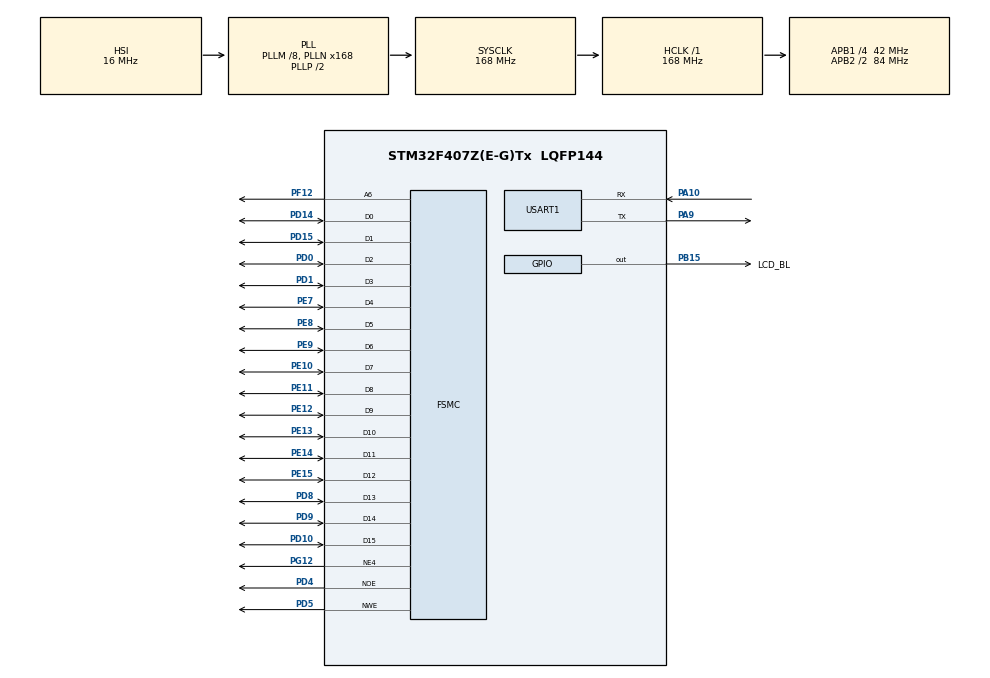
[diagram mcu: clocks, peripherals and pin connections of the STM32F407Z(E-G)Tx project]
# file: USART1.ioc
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FSMC.AddressSetupTime1=2
FSMC.BusTurnAroundDuration1=10
FSMC.DataSetupTime1=10
FSMC.ExtendedAddressSetupTime1=1
FSMC.ExtendedBusTurnAroundDuration1=2
FSMC.ExtendedDataSetupTime1=1
FSMC.ExtendedMode1=FSMC_EXTENDED_MODE_ENABLE
Mcu.Family=STM32F4
Mcu.Name=STM32F407Z(E-G)Tx
Mcu.Package=LQFP144
NVIC.PriorityGroup=NVIC_PRIORITYGROUP_4
NVIC.TIM2_IRQn=true\:0\:0\:false\:false\:true\:true\:true\:true
PA10.Mode=Asynchronous
PA10.Signal=USART1_RX
PA13.Mode=Serial_Wire
PA13.Signal=SYS_JTMS-SWDIO
PA14.Mode=Serial_Wire
PA14.Signal=SYS_JTCK-SWCLK
PA9.Mode=Asynchronous
PA9.Signal=USART1_TX
PB15.GPIO_Label=LCD_BL
PB15.GPIO_ModeDefaultOutputPP=GPIO_MODE_OUTPUT_PP
PB15.GPIO_PuPd=GPIO_PULLUP
PB15.GPIO_Speed=GPIO_SPEED_FREQ_HIGH
PB15.Signal=GPIO_Output
PD0.Signal=FSMC_D2_DA2
PD1.Signal=FSMC_D3_DA3
PD10.Signal=FSMC_D15_DA15
PD14.Signal=FSMC_D0_DA0
PD15.Signal=FSMC_D1_DA1
PD4.Signal=FSMC_NOE
PD5.Signal=FSMC_NWE
PD8.Signal=FSMC_D13_DA13
PD9.Signal=FSMC_D14_DA14
PE10.Signal=FSMC_D7_DA7
PE11.Signal=FSMC_D8_DA8
PE12.Signal=FSMC_D9_DA9
PE13.Signal=FSMC_D10_DA10
PE14.Signal=FSMC_D11_DA11
PE15.Signal=FSMC_D12_DA12
PE7.Signal=FSMC_D4_DA4
PE8.Signal=FSMC_D5_DA5
PE9.Signal=FSMC_D6_DA6
PF12.Signal=FSMC_A6
PG12.Mode=NorPsramChipSelect4_1
PG12.Signal=FSMC_NE4
PH0-OSC_IN.Mode=HSE-External-Oscillator
PH0-OSC_IN.Signal=RCC_OSC_IN
PH1-OSC_OUT.Mode=HSE-External-Oscillator
PH1-OSC_OUT.Signal=RCC_OSC_OUT
ProjectManager.HeapSize=0x800
ProjectManager.StackSize=0x800
ProjectManager.TargetToolchain=MDK-ARM V5
RCC.48MHZClocksFreq_Value=84000000
RCC.AHBFreq_Value=168000000
RCC.APB1CLKDivider=RCC_HCLK_DIV4
RCC.APB1Freq_Value=42000000
RCC.APB1TimFreq_Value=84000000
RCC.APB2CLKDivider=RCC_HCLK_DIV2
RCC.APB2Freq_Value=84000000
RCC.APB2TimFreq_Value=168000000
RCC.CortexFreq_Value=168000000
RCC.HCLKFreq_Value=168000000
RCC.HSE_VALUE=25000000
RCC.HSI_VALUE=16000000
RCC.LSE_VALUE=32768
RCC.PLLM=8
RCC.PLLN=168
RCC.SYSCLKFreq_VALUE=168000000
RCC.SYSCLKSource=RCC_SYSCLKSOURCE_PLLCLK
RCC.VCOOutputFreq_Value=336000000
SH.FSMC_A6.0=FSMC_A6,A6_1
SH.FSMC_D0_DA0.0=FSMC_D0,16b-d1
SH.FSMC_D10_DA10.0=FSMC_D10,16b-d1
SH.FSMC_D11_DA11.0=FSMC_D11,16b-d1
SH.FSMC_D12_DA12.0=FSMC_D12,16b-d1
SH.FSMC_D13_DA13.0=FSMC_D13,16b-d1
SH.FSMC_D14_DA14.0=FSMC_D14,16b-d1
SH.FSMC_D15_DA15.0=FSMC_D15,16b-d1
SH.FSMC_D1_DA1.0=FSMC_D1,16b-d1
SH.FSMC_D2_DA2.0=FSMC_D2,16b-d1
SH.FSMC_D3_DA3.0=FSMC_D3,16b-d1
SH.FSMC_D4_DA4.0=FSMC_D4,16b-d1
SH.FSMC_D5_DA5.0=FSMC_D5,16b-d1
SH.FSMC_D6_DA6.0=FSMC_D6,16b-d1
SH.FSMC_D7_DA7.0=FSMC_D7,16b-d1
SH.FSMC_D8_DA8.0=FSMC_D8,16b-d1
SH.FSMC_D9_DA9.0=FSMC_D9,16b-d1
SH.FSMC_NOE.0=FSMC_NOE,Lcd1
SH.FSMC_NWE.0=FSMC_NWE,Lcd1
STMicroelectronics.X-CUBE-AI.8.1.0.ActivationBufferSizeList=57152
STMicroelectronics.X-CUBE-AI.8.1.0.ActivationBuffers=pool0
STMicroelectronics.X-CUBE-AI.8.1.0.ActivationNames=pool0
STMicroelectronics.X-CUBE-AI.8.1.0.ActivationSizes=AI_NETWORK_DATA_ACTIVATION_1_SIZE
STMicroelectronics.X-CUBE-AI.8.1.0.HeapSize=0x800
STMicroelectronics.X-CUBE-AI.8.1.0.InternalRamActivationBufferMaxSize=AI_NETWORK_DATA_ACTIVATIONS_SIZE
STMicroelectronics.X-CUBE-AI.8.1.0.LatestDirectoryUsed-e3d792aa11943321f5295016e05037dad52c02e9f5a67bd2e8513bfc6009c321=D\:\\pytorch_project\\numbers\\numbers
STMicroelectronics.X-CUBE-AI.8.1.0.MaximumNumberOfInputLayer=1
STMicroelectronics.X-CUBE-AI.8.1.0.MaximumNumberOfOutputLayer=1
STMicroelectronics.X-CUBE-AI.8.1.0.MaximumSizeOfInputLayer=1
STMicroelectronics.X-CUBE-AI.8.1.0.MaximumSizeOfOutputLayer=1
STMicroelectronics.X-CUBE-AI.8.1.0.ModelActualCompression-e3d792aa11943321f5295016e05037dad52c02e9f5a67bd2e8513bfc6009c321=3.407177
STMicroelectronics.X-CUBE-AI.8.1.0.ModelCompression-e3d792aa11943321f5295016e05037dad52c02e9f5a67bd2e8513bfc6009c321=Low
STMicroelectronics.X-CUBE-AI.8.1.0.ModelFlashOccupation-e3d792aa11943321f5295016e05037dad52c02e9f5a67bd2e8513bfc6009c321=517010
STMicroelectronics.X-CUBE-AI.8.1.0.ModelHashList=e3d792aa11943321f5295016e05037dad52c02e9f5a67bd2e8513bfc6009c321
STMicroelectronics.X-CUBE-AI.8.1.0.ModelKind-e3d792aa11943321f5295016e05037dad52c02e9f5a67bd2e8513bfc6009c321=ONNX
STMicroelectronics.X-CUBE-AI.8.1.0.ModelMacc-e3d792aa11943321f5295016e05037dad52c02e9f5a67bd2e8513bfc6009c321=2364784
STMicroelectronics.X-CUBE-AI.8.1.0.ModelName-e3d792aa11943321f5295016e05037dad52c02e9f5a67bd2e8513bfc6009c321=network
STMicroelectronics.X-CUBE-AI.8.1.0.ModelNameList=network
STMicroelectronics.X-CUBE-AI.8.1.0.ModelRamOccupation-e3d792aa11943321f5295016e05037dad52c02e9f5a67bd2e8513bfc6009c321=57152
STMicroelectronics.X-CUBE-AI.8.1.0.ModelStructureFile-e3d792aa11943321f5295016e05037dad52c02e9f5a67bd2e8513bfc6009c321=D\:\\pytorch_project\\numbers\\numbers\\net.onnx
STMicroelectronics.X-CUBE-AI.8.1.0.ModelType-e3d792aa11943321f5295016e05037dad52c02e9f5a67bd2e8513bfc6009c321=Saved model
STMicroelectronics.X-CUBE-AI.8.1.0.ReadyForCodeGeneration=true
STMicroelectronics.X-CUBE-AI.8.1.0.StackSize=0x800
STMicroelectronics.X-CUBE-AI.8.1.0.WorkingBufferStartAddrList=0xFFFFFFFF
STMicroelectronics.X-CUBE-AI.8.1.0.XAaCUBEAaAICcArtificialOoIntelligenceJjCore=true
STMicroelectronics.X-CUBE-AI.8.1.0.copyWeightToRam=false
STMicroelectronics.X-CUBE-AI.8.1.0.customLayerConfigEnabled=false
STMicroelectronics.X-CUBE-AI.8.1.0.noOnnxIoTranspose=false
STMicroelectronics.X-CUBE-AI.8.1.0.useInputAllocation=true
STMicroelectronics.X-CUBE-AI.8.1.0.useOutputAllocation=true
TIM2.Period=9999
TIM2.Prescaler=8399
USART1.VirtualMode=VM_ASYNC
VP_CRC_VS_CRC.Mode=CRC_Activate
VP_STMicroelectronics.X-CUBE-AI_VS_ArtificialOoIntelligenceJjXAaCUBEAaAI_8.1.0.Mode=ArtificialOoIntelligenceJjXAaCUBEAaAI
VP_TIM2_VS_ClockSourceINT.Mode=Internal
board=custom

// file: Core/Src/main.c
/* USER CODE BEGIN Header */
/**
  ******************************************************************************
  * @file           : main.c
  * @brief          : Main program body
  ******************************************************************************
  * @attention
  *
  * Copyright (c) 2024 STMicroelectronics.
  * All rights reserved.
  *
  * This software is licensed under terms that can be found in the LICENSE file
  * in the root directory of this software component.
  * If no LICENSE file comes with this software, it is provided AS-IS.
  *
  ******************************************************************************
  */
/* USER CODE END Header */
#include "main.h"
#include "crc.h"
#include "tim.h"
#include "usart.h"
#include "gpio.h"
#include "fsmc.h"

/* USER CODE BEGIN Includes */
#include "lcd.h"
#include "pic.h"
#include "stdio.h"
#include "network.h"//调用网络推理所需的各种函数
#include "network_data.h"//包含网络权重参数
#include "ai_platform.h"//包含各种定义和宏
#include "touch.h"
#include "delay.h"
/* USER CODE END Includes */

/* USER CODE BEGIN PTD */
int fps=0,FPS=0;

/* USER CODE END PTD */

void SystemClock_Config(void);
/* USER CODE BEGIN PFP */

ai_handle network=AI_HANDLE_NULL;
static float aiInData[AI_NETWORK_IN_1_SIZE]={0};
static float aiOutData[AI_NETWORK_OUT_1_SIZE];
ai_u8 activations[AI_NETWORK_DATA_ACTIVATIONS_SIZE];

ai_buffer * ai_input;
ai_buffer * ai_output;

uint16_t lastpos[10][2];

static void AI_Init(void)
{
  ai_error err;

  /* Create a local array with the addresses of the activations buffers */
  const ai_handle act_addr[] = { activations };
  /* Create an instance of the model */
  err = ai_network_create_and_init(&network, act_addr, NULL);
  if (err.type != AI_ERROR_NONE) {
    printf("ai_network_create error - type=%d code=%d\r\n", err.type, err.code);
    Error_Handler();
  }
	else
	{
		printf("AI init success!\r\n");
	}
  ai_input = ai_network_inputs_get(network, NULL);
  ai_output = ai_network_outputs_get(network, NULL);
}

static void AI_Run(float *pIn, float *pOut)
{
	char logStr[100];
	int count = 0;
	float max = 0;
  ai_i32 batch;
  ai_error err;

  /* Update IO handlers with the data payload */
  ai_input[0].data = AI_HANDLE_PTR(pIn);
  ai_output[0].data = AI_HANDLE_PTR(pOut);

  batch = ai_network_run(network, ai_input, ai_output);
  if (batch != 1) {
    err = ai_network_get_error(network);
    printf("AI ai_network_run error - type=%d code=%d\r\n", err.type, err.code);
    Error_Handler();
  }
  for (uint32_t i = 0; i < AI_NETWORK_OUT_1_SIZE; i++) {

	  sprintf(logStr,"%d  %8.6f\r\n",i,aiOutData[i]);

	  //printf("%s",logStr);

		lcd_show_string(72, 336+72+i*32,336, 32,32, logStr,BLACK);
	  if(max<aiOutData[i])
	  {
		  count = i;
		  max= aiOutData[i];
	  }
  }
	if(aiOutData[count]>0.5)
	{
  sprintf(logStr,"current number is %d   \r\n",count);
	}
	else
	{
		sprintf(logStr,"current number is none");
	}
  //printf("%s",logStr);
	lcd_show_string(72,336+ 72+10*32,400, 32,32, logStr,BLACK);
}

void load_draw_dialog(void)
{
    lcd_clear(WHITE);                                                /* 清屏 */
    lcd_show_string(lcddev.width - 24, 0, 200, 16, 16, "RST", BLUE); /* 显示清屏区域 */
	lcd_draw_rectangle(72, 72, 336+72-1,336+72-1,  BLUE);
	for (int i=0;i<AI_NETWORK_IN_1_SIZE;i++)
	{
		aiInData[i]=0;
	}
}

void process_data(uint16_t x1, uint16_t y1, uint16_t x2, uint16_t y2)
{
    uint16_t t;
    int xerr = 0, yerr = 0, delta_x, delta_y, distance;
    int incx, incy, row, col;
    delta_x = x2 - x1;      /* 计算坐标增量 */
    delta_y = y2 - y1;
    row = x1;
    col = y1;

    if (delta_x > 0)
    {
        incx = 1;       /* 设置单步方向 */
    }
    else if (delta_x == 0)
    {
        incx = 0;       /* 垂直线 */
    }
    else
    {
        incx = -1;
        delta_x = -delta_x;
    }

    if (delta_y > 0)
    {
        incy = 1;
    }
    else if (delta_y == 0)
    {
        incy = 0;       /* 水平线 */
    }
    else
    {
        incy = -1;
        delta_y = -delta_y;
    }

    if ( delta_x > delta_y)
    {
        distance = delta_x;  /* 选取基本增量坐标轴 */
    }
    else
    {
        distance = delta_y;
    }

    for (t = 0; t <= distance + 1; t++)     /* 画线输出 */
    {
        //lcd_draw_point((row-30)/12, (col-30)/12);    /* 画点 */
			aiInData[((col-72)/12)*28+(row-72)/12 ]=1;
			lcd_draw_point((row-72)/12, (col-72)/12,BLACK);
        xerr += delta_x;
        yerr += delta_y;

        if (xerr > distance)
        {
            xerr -= distance;
            row += incx;
        }

        if (yerr > distance)
        {
            yerr -= distance;
            col += incy;
        }
    }
}

/* 10个触控点的颜色(电容触摸屏用) */
const uint16_t POINT_COLOR_TBL[10] = {RED, GREEN, BLUE, BROWN, YELLOW, MAGENTA, CYAN, LIGHTBLUE, BRRED, GRAY};

/**
 * @brief       电容触摸屏测试函数
 * @param       无
 * @retval      无
 */
void ctp_test(void)
{
    uint8_t t = 0;
    uint8_t i = 0;
       /* 最后一次的数据 */
    uint8_t maxp = 5;

        tp_dev.scan(0);

        for (t = 0; t < maxp; t++)
        {
            if ((tp_dev.sta) & (1 << t))
            {
                if (tp_dev.x[t] > 72 &&tp_dev.x[t] < 336+72-1 && tp_dev.y[t] > 72&& tp_dev.y[t] < 336+72-1)  /* 坐标在屏幕范围内 */
                {
                    if (lastpos[t][0] == 0xFFFF)
                    {
                        lastpos[t][0] = tp_dev.x[t];
                        lastpos[t][1] = tp_dev.y[t];
                    }

                    lcd_draw_bline(lastpos[t][0], lastpos[t][1], tp_dev.x[t], tp_dev.y[t], 10, POINT_COLOR_TBL[t]); /* 画线 */
										process_data(lastpos[t][0],  lastpos[t][1],tp_dev.x[t],tp_dev.y[t]);
                    lastpos[t][0] = tp_dev.x[t];
                    lastpos[t][1] = tp_dev.y[t];

                }
								if (tp_dev.x[t] > (lcddev.width - 24) && tp_dev.y[t] < 20)
                    {
                        load_draw_dialog();/* 清除 */
                    }
            }
            else
            {
                lastpos[t][0] = 0xFFFF;
            }
        }

}

void HAL_TIM_PeriodElapsedCallback(TIM_HandleTypeDef* htim){
    if(htim->Instance==TIM2){
					//printf("LCD FPS:%d\r\n",fps);
			//FPS=fps;
					//fps=0;
		 ctp_test();
    }
}

/* USER CODE END PFP */

int main(void)
{

  /* MCU Configuration--------------------------------------------------------*/

  /* Reset of all peripherals, Initializes the Flash interface and the Systick. */
  HAL_Init();

  /* Configure the system clock */
  SystemClock_Config();

  /* Initialize all configured peripherals */
  MX_GPIO_Init();
  MX_USART1_UART_Init();
  MX_FSMC_Init();
  MX_TIM2_Init();
  MX_CRC_Init();
  /* USER CODE BEGIN 2 */
   lcd_init();
	 tp_dev.init();
	 HAL_TIM_Base_Start_IT(&htim2);
	 AI_Init();
	 printf("LCD ID:%x\r\n", lcddev.id);
	load_draw_dialog();

	// AI_Run(test_img, aiOutData);
  /* USER CODE END 2 */

  /* Infinite loop */
  while (1)
  {

    /* USER CODE BEGIN 3 */
//		unsigned char *ch=NULL;
//		sprintf(ch,"LCD ID:%d\r\n", 111);
//		HAL_UART_Transmit(&huart1,ch,sizeof(ch),1000);
//  switch (x)
//        {
//        case 0:
//            lcd_clear(WHITE);
//            break;

//        case 1:
//            lcd_clear(BLACK);
//            break;

//        case 2:
//            lcd_clear(BLUE);
//            break;

//        case 3:
//            lcd_clear(RED);
//            break;

//        case 4:
//            lcd_clear(MAGENTA);
//            break;

//        case 5:
//            lcd_clear(GREEN);
//            break;

//        case 6:
//            lcd_clear(CYAN);
//            break;

//        case 7:
//            lcd_clear(YELLOW);
//            break;

//        case 8:
//            lcd_clear(BRRED);
//            break;

//        case 9:
//            lcd_clear(GRAY);
//            break;

//        case 10:
//            lcd_clear(LGRAY);
//            break;

//        case 11:
//            lcd_clear(BROWN);
//            break;
//        }
AI_Run(aiInData, aiOutData);

//        x++;

//        if (x == 12)
//            x = 0;

		//lcd_show_move_pic(0, 0, 240-1, 400-1	, gImage_catmiao240_400);

//	char*ch=NULL;
	//	sprintf(ch,"FPS=%d",FPS);
		//lcd_show_pic(0, 0, 480-1, 700-1	, gImage_emxq);
	//	lcd_show_string(0, 0,16*4-1,32, 32 , "FPS=", BLACK);
	//	lcd_show_num(16*4-1,0,FPS,3,32,BLACK);

  }
  /* USER CODE END 3 */
}

void SystemClock_Config(void)
{
  RCC_OscInitTypeDef RCC_OscInitStruct = {0};
  RCC_ClkInitTypeDef RCC_ClkInitStruct = {0};

  /** Configure the main internal regulator output voltage
  */
  __HAL_RCC_PWR_CLK_ENABLE();
  __HAL_PWR_VOLTAGESCALING_CONFIG(PWR_REGULATOR_VOLTAGE_SCALE1);

  /** Initializes the RCC Oscillators according to the specified parameters
  * in the RCC_OscInitTypeDef structure.
  */
  RCC_OscInitStruct.OscillatorType = RCC_OSCILLATORTYPE_HSI;
  RCC_OscInitStruct.HSIState = RCC_HSI_ON;
  RCC_OscInitStruct.HSICalibrationValue = RCC_HSICALIBRATION_DEFAULT;
  RCC_OscInitStruct.PLL.PLLState = RCC_PLL_ON;
  RCC_OscInitStruct.PLL.PLLSource = RCC_PLLSOURCE_HSI;
  RCC_OscInitStruct.PLL.PLLM = 8;
  RCC_OscInitStruct.PLL.PLLN = 168;
  RCC_OscInitStruct.PLL.PLLP = RCC_PLLP_DIV2;
  RCC_OscInitStruct.PLL.PLLQ = 4;
  if (HAL_RCC_OscConfig(&RCC_OscInitStruct) != HAL_OK)
  {
    Error_Handler();
  }

  /** Initializes the CPU, AHB and APB buses clocks
  */
  RCC_ClkInitStruct.ClockType = RCC_CLOCKTYPE_HCLK|RCC_CLOCKTYPE_SYSCLK
                              |RCC_CLOCKTYPE_PCLK1|RCC_CLOCKTYPE_PCLK2;
  RCC_ClkInitStruct.SYSCLKSource = RCC_SYSCLKSOURCE_PLLCLK;
  RCC_ClkInitStruct.AHBCLKDivider = RCC_SYSCLK_DIV1;
  RCC_ClkInitStruct.APB1CLKDivider = RCC_HCLK_DIV4;
  RCC_ClkInitStruct.APB2CLKDivider = RCC_HCLK_DIV2;

  if (HAL_RCC_ClockConfig(&RCC_ClkInitStruct, FLASH_LATENCY_5) != HAL_OK)
  {
    Error_Handler();
  }
}

void Error_Handler(void)
{
  __disable_irq();
  while (1)
  {
  }
}
